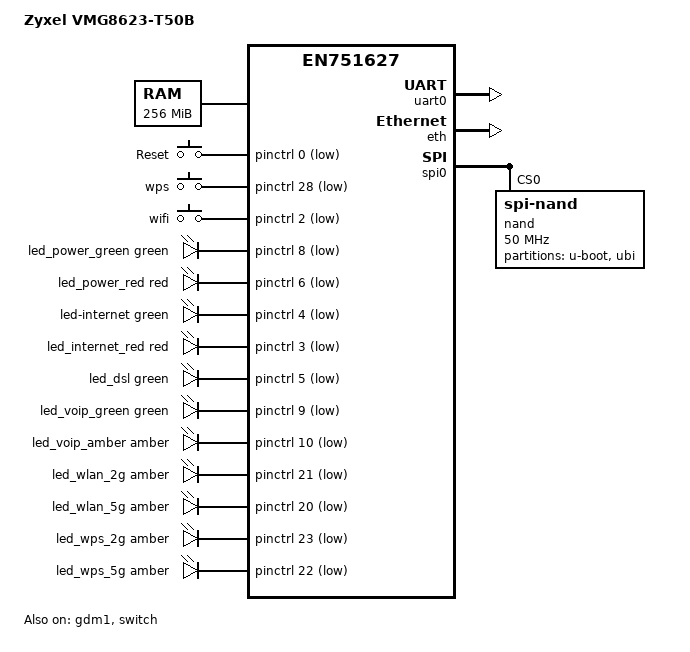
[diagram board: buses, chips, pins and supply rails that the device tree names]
// SPDX-License-Identifier: GPL-2.0+
/dts-v1/;
#include "econet,en751627.dtsi"

/ {
	model = "Zyxel VMG8623-T50B";
	compatible = "econet,en751627-zyxel_vmg8623-t50b", "econet,en751627";

	memory@0 {
		device_type = "memory";
		/* Placeholder; dram_init uses the vendor calibrated size. */
		reg = <0x00000000 0x10000000>;
	};

	chosen {
		stdout-path = "serial0:115200n8";
	};

	keys {
		compatible = "gpio-keys";

		key-reset {
			label = "Reset";
			gpios = <&pinctrl 0 GPIO_ACTIVE_LOW>;
			linux,code = <KEY_RESTART>;
			debounce-interval = <60>;
		};

		wps {
			label = "wps";
			gpios = <&pinctrl 28 GPIO_ACTIVE_LOW>;
			linux,code = <KEY_WPS_BUTTON>;
			debounce-interval = <60>;
		};

		key-wlan {
			label = "wifi";
			gpios = <&pinctrl 2 GPIO_ACTIVE_LOW>;
			linux,code = <KEY_RFKILL>;
			debounce-interval = <60>;
		};
	};

	leds {
		compatible = "gpio-leds";

		led_power_green: led-power-green {
			color = <LED_COLOR_ID_GREEN>;
			function = LED_FUNCTION_STATUS;
			function-enumerator = <8>;
			gpios = <&pinctrl 8 GPIO_ACTIVE_LOW>;
		};

		led_power_red: led-power-red {
			color = <LED_COLOR_ID_RED>;
			function = LED_FUNCTION_STATUS;
			function-enumerator = <6>;
			gpios = <&pinctrl 6 GPIO_ACTIVE_LOW>;
		};

		led-internet {
			color = <LED_COLOR_ID_GREEN>;
			function = LED_FUNCTION_WAN_ONLINE;
			function-enumerator = <4>;
			gpios = <&pinctrl 4 GPIO_ACTIVE_LOW>;
		};

		led_internet_red: led-internet-red {
			color = <LED_COLOR_ID_RED>;
			function = LED_FUNCTION_WAN_ONLINE;
			function-enumerator = <3>;
			gpios = <&pinctrl 3 GPIO_ACTIVE_LOW>;
		};

		led_dsl: led-dsl {
			color = <LED_COLOR_ID_GREEN>;
			function = LED_FUNCTION_STATUS;
			function-enumerator = <5>;
			gpios = <&pinctrl 5 GPIO_ACTIVE_LOW>;
		};

		led_voip_green: led-voip-green {
			color = <LED_COLOR_ID_GREEN>;
			function = LED_FUNCTION_STATUS;
			function-enumerator = <9>;
			gpios = <&pinctrl 9 GPIO_ACTIVE_LOW>;
		};

		led_voip_amber: led-voip-amber {
			color = <LED_COLOR_ID_AMBER>;
			function = LED_FUNCTION_STATUS;
			function-enumerator = <10>;
			gpios = <&pinctrl 10 GPIO_ACTIVE_LOW>;
		};

		led_wlan_2g: led-wlan-2g {
			color = <LED_COLOR_ID_AMBER>;
			function = LED_FUNCTION_STATUS;
			function-enumerator = <21>;
			gpios = <&pinctrl 21 GPIO_ACTIVE_LOW>;
		};

		led_wlan_5g: led-wlan-5g {
			color = <LED_COLOR_ID_AMBER>;
			function = LED_FUNCTION_STATUS;
			function-enumerator = <20>;
			gpios = <&pinctrl 20 GPIO_ACTIVE_LOW>;
		};

		led_wps_2g: led-wps-2g {
			color = <LED_COLOR_ID_AMBER>;
			function = LED_FUNCTION_STATUS;
			function-enumerator = <23>;
			gpios = <&pinctrl 23 GPIO_ACTIVE_LOW>;
		};

		led_wps_5g: led-wps-5g {
			color = <LED_COLOR_ID_AMBER>;
			function = LED_FUNCTION_STATUS;
			function-enumerator = <22>;
			gpios = <&pinctrl 22 GPIO_ACTIVE_LOW>;
		};
	};
};

&uart0 {
	status = "okay";
};

&eth {
	status = "okay";
};

&gdm1 {
	status = "okay";
};

&switch {
	status = "okay";
};

&spi0 {
	status = "okay";

	nand: nand@0 {
		compatible = "spi-nand";
		reg = <0>;
		spi-max-frequency = <50000000>;
		spi-tx-bus-width = <1>;
		spi-rx-bus-width = <2>;

		partitions {
			compatible = "fixed-partitions";
			#address-cells = <1>;
			#size-cells = <1>;
	
			partition@0 {
				label = "u-boot";
				reg = <0x000000 0x100000>;
			};
	
			partition@100000 {
				label = "ubi";
				reg = <0x100000 0x000000>;
			};
		};
	};
};
